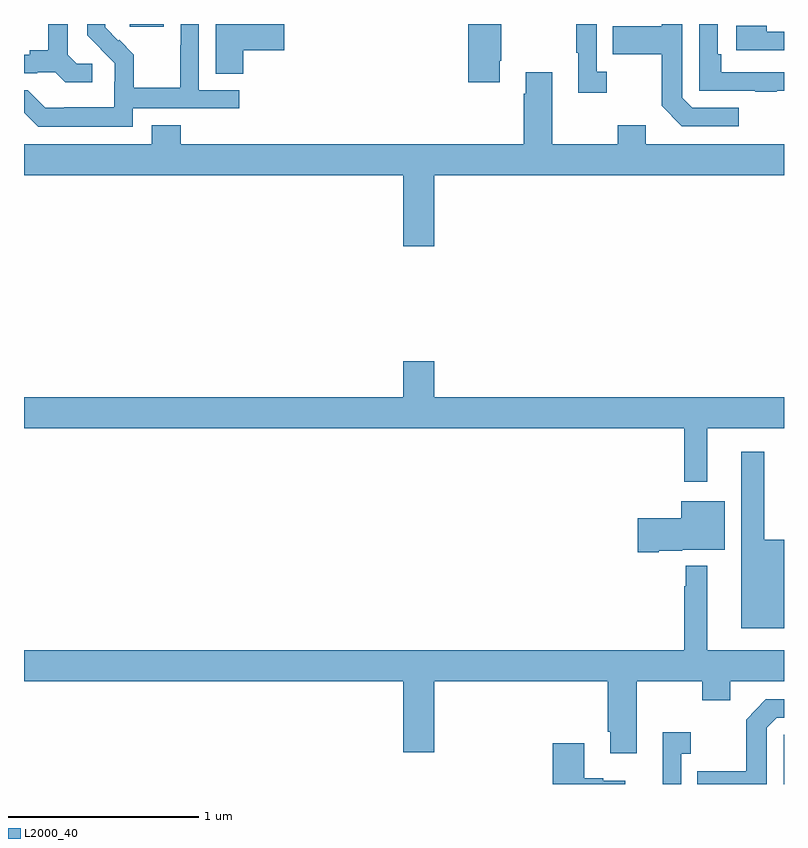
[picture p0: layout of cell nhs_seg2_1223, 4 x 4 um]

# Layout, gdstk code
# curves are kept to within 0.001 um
import gdstk
lib = gdstk.Library(unit=1e-6, precision=1e-09)
def R(c, l, rs):  # rectangles x0, y0, x1, y1
    for r in rs: c.add(gdstk.rectangle(r[:2], r[2:], *l))
def P(c, l, *ps):  # polygons
    for p in ps: c.add(gdstk.Polygon(p, *l))
L2000_40 = (2000, 40)

nhs_seg2_1223 = lib.new_cell('nhs_seg2_1223')
R(nhs_seg2_1223, L2000_40, [(178.998,609.8,179,610.059), (175.556,613.785,175.735,613.8)])
P(nhs_seg2_1223, L2000_40, [(175.572,613.356),(176.134,613.356),(176.134,613.452),(175.92,613.452),(175.92,613.8),(175.824,613.8),(175.824,613.688),(175.822,613.688),(175.822,613.465),(175.577,613.465),(175.577,613.639),(175.5,613.716),(175.497,613.713),(175.427,613.784),(175.427,613.8),(175.332,613.8),(175.332,613.742),(175.478,613.594),(175.478,613.497),(175.476,613.497),(175.476,613.363),(175.213,613.363),(175.213,613.359),(175.113,613.359),(175.02,613.452),(175,613.452),(175,613.334),(175.075,613.259),(175.572,613.259)],
  [(175.36,613.59),(175.278,613.59),(175.231,613.637),(175.231,613.8),(175.127,613.8),(175.127,613.661),(175.031,613.661),(175.031,613.638),(175,613.638),(175,613.542),(175.07,613.542),(175.07,613.545),(175.164,613.545),(175.216,613.493),(175.36,613.493)],
  [(178.066,613.55),(178.014,613.55),(178.014,613.8),(177.906,613.8),(177.906,613.649),(177.917,613.649),(177.917,613.437),(178.066,613.437)],
  [(178.961,613.449),(179,613.449),(179,613.545),(178.67,613.545),(178.67,613.642),(178.65,613.642),(178.65,613.8),(178.554,613.8),(178.554,613.449),(178.849,613.449),(178.849,613.444),(178.961,613.444)],
  [(176.153,613.661),(176.371,613.661),(176.371,613.8),(176.009,613.8),(176.009,613.537),(176.153,613.537)],
  [(177.505,613.606),(177.513,613.606),(177.513,613.8),(177.338,613.8),(177.338,613.494),(177.505,613.494)],
  [(178.762,613.359),(178.518,613.359),(178.464,613.413),(178.464,613.8),(178.356,613.8),(178.356,613.789),(178.099,613.789),(178.099,613.642),(178.356,613.642),(178.356,613.369),(178.461,613.263),(178.762,613.263)],
  [(179,613.758),(178.91,613.758),(178.91,613.792),(178.749,613.792),(178.749,613.662),(179,613.662)],
  [(177.16,613.004),(179,613.004),(179,613.168),(178.273,613.168),(178.273,613.267),(178.126,613.267),(178.126,613.168),(177.781,613.168),(177.781,613.546),(177.641,613.546),(177.641,613.433),(177.629,613.433),(177.629,613.168),(175.826,613.168),(175.826,613.267),(175.673,613.267),(175.673,613.168),(175,613.168),(175,613.004),(176.996,613.004),(176.996,612.63),(177.16,612.63)],
  [(178.597,611.672),(179,611.672),(179,611.836),(177.16,611.836),(177.16,612.025),(176.996,612.025),(176.996,611.836),(175,611.836),(175,611.672),(178.476,611.672),(178.476,611.391),(178.597,611.391)],
  [(179,611.086),(178.897,611.086),(178.897,611.548),(178.775,611.548),(178.775,610.619),(179,610.619)],
  [(178.342,611.027),(178.464,611.027),(178.464,611.033),(178.687,611.033),(178.687,611.287),(178.46,611.287),(178.46,611.199),(178.23,611.199),(178.23,611.021),(178.342,611.021)],
  [(178.225,610.34),(178.57,610.34),(178.57,610.241),(178.717,610.241),(178.717,610.34),(179,610.34),(179,610.504),(178.597,610.504),(178.597,610.948),(178.483,610.948),(178.483,610.841),(178.476,610.841),(178.476,610.504),(175,610.504),(175,610.34),(176.996,610.34),(176.996,609.966),(177.16,609.966),(177.16,610.34),(178.073,610.34),(178.073,610.075),(178.085,610.075),(178.085,609.963),(178.225,609.963)],
  [(178.908,610.095),(178.962,610.149),(179,610.149),(179,610.245),(178.905,610.245),(178.8,610.139),(178.8,609.867),(178.543,609.867),(178.543,609.8),(178.908,609.8)],
  [(178.458,609.959),(178.51,609.959),(178.51,610.072),(178.361,610.072),(178.361,609.8),(178.458,609.8)],
  [(178.165,609.817),(178.049,609.817),(178.049,609.83),(177.949,609.83),(177.949,610.015),(177.782,610.015),(177.782,609.8),(178.165,609.8)])

lib.write_gds('nhs_seg2_1223.gds')
